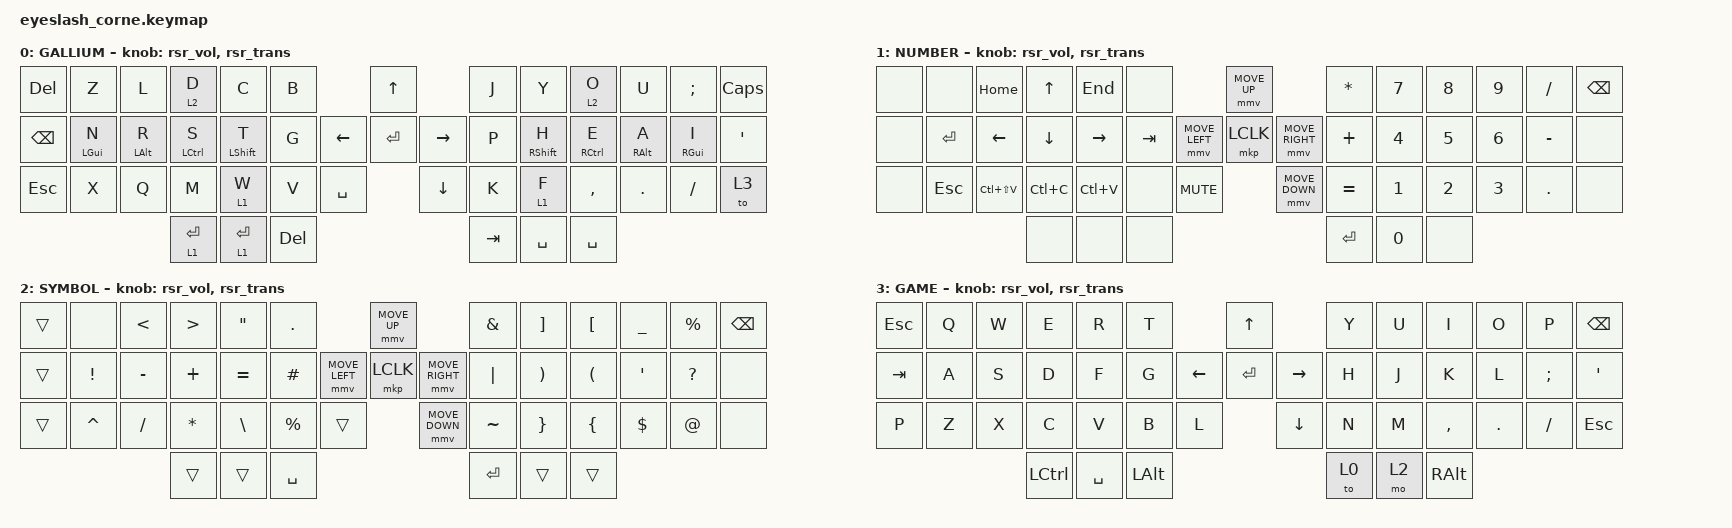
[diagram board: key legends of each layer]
#define ZMK_POINTING_DEFAULT_MOVE_VAL 1200  // 600
#define ZMK_POINTING_DEFAULT_SCRL_VAL 25   // 10

#include <input/processors.dtsi>
#include <zephyr/dt-bindings/input/input-event-codes.h>
#include <behaviors/runtime-sensor-rotate.dtsi>
#include <behaviors.dtsi>
#include <dt-bindings/zmk/keys.h>
#include <dt-bindings/zmk/pointing.h>
#include <dt-bindings/zmk/rgb.h>

&mmv_input_listener { input-processors = <&zip_xy_scaler 2 1>; };

&msc_input_listener { input-processors = <&zip_scroll_scaler 2 1>; };

&msc {
    acceleration-exponent = <1>;      // 0
    time-to-max-speed-ms = <100>;       // 300
    delay-ms = <0>;                   // 0
};

&mmv {
    time-to-max-speed-ms = <500>;
    acceleration-exponent = <1>;
    trigger-period-ms = <16>;
};

/ {
    behaviors {
        td0: td0 {
            compatible = "zmk,behavior-tap-dance";
            display-name = "Shift/Caps Lock Tap Dance";
            #binding-cells = <0>;
            bindings = <&kp LEFT_SHIFT>, <&kp CAPS>;
        };

        rsr_vol: rsr_vol {
            compatible = "zmk,behavior-runtime-sensor-rotate";
            #sensor-binding-cells = <0>;
            tap-ms = <5>;
            cw-binding = <&kp C_VOL_UP>;
            ccw-binding = <&kp C_VOL_DN>;
        };

        rsr_trans: rsr_trans {
            compatible = "zmk,behavior-runtime-sensor-rotate";
            #sensor-binding-cells = <0>;
            tap-ms = <0>;
        };

        HML: HML {
            compatible = "zmk,behavior-hold-tap";
            label = "HML";
            bindings = <&kp>, <&kp>;

            #binding-cells = <2>;
            tapping-term-ms = <180>;
            flavor = "tap-preferred";
            hold-trigger-key-positions = <7 8 9 10 11 12 22 23 24 25 26 27 36 37 38 39 40 41 45 46 47>;
        };

        HMR: HMR {
            compatible = "zmk,behavior-hold-tap";
            label = "HMR";
            bindings = <&kp>, <&kp>;

            #binding-cells = <2>;
            tapping-term-ms = <180>;
            flavor = "tap-preferred";
            hold-trigger-key-positions = <0 1 2 3 4 5 13 14 15 16 17 18 28 29 30 31 32 33 42 43 44>;
        };
    };

    rgb_encoder: rgb_encoder {
        compatible = "zmk,behavior-sensor-rotate";
        #sensor-binding-cells = <0>;
        bindings = <&rgb_ug RGB_BRI>, <&rgb_ug RGB_BRD>;
    };

    scroll_encoder: scroll_encoder {
        compatible = "zmk,behavior-sensor-rotate";
        #sensor-binding-cells = <0>;
        bindings = <&msc SCRL_DOWN>, <&msc SCRL_UP>;

        tap-ms = <100>;
    };

    keymap {
        compatible = "zmk,keymap";

        BASE {
            display-name = "GALLIUM";
            bindings = <
&kp DELETE     &kp Z        &kp L        &lt 2 D       &kp C         &kp B                              &kp UP                &kp J    &kp Y          &lt 2 O       &kp U        &kp SEMICOLON  &kp CAPSLOCK
&kp BACKSPACE  &HML LGUI N  &HML LALT R  &HML LCTRL S  &HML LSHFT T  &kp G                    &kp LEFT  &kp ENTER  &kp RIGHT  &kp P    &HMR RSHIFT H  &HMR RCTRL E  &HMR RALT A  &HMR RGUI I    &kp SQT
&kp ESC        &kp X        &kp Q        &kp M         &lt 1 W       &kp V       &kp SPACE              &kp DOWN              &kp K    &lt 1 F        &kp COMMA     &kp DOT      &kp FSLH       &to 3
                                         &lt 1 ENTER   &lt 1 ENTER   &kp DELETE                                               &kp TAB  &kp SPACE      &kp SPACE
            >;

            sensor-bindings = <&rsr_vol &rsr_trans>;
        };

        NUMBER {
            display-name = "NUMBER";
            bindings = <
&none  &none      &kp HOME        &kp UP_ARROW    &kp END    &none                                  &mmv MOVE_UP                     &kp ASTERISK  &kp N7        &kp N8        &kp N9        &kp SLASH   &kp BSPC
&none  &kp ENTER  &kp LEFT_ARROW  &kp DOWN_ARROW  &kp RIGHT  &kp TAB                &mmv MOVE_LEFT  &mkp LCLK       &mmv MOVE_RIGHT  &kp PLUS      &kp NUMBER_4  &kp NUMBER_5  &kp NUMBER_6  &kp MINUS   &none
&none  &kp ESC    &kp LC(LS(V))   &kp LC(C)       &kp LC(V)  &none    &kp C_MUTE                    &mmv MOVE_DOWN                   &kp EQUAL     &kp NUMBER_1  &kp NUMBER_2  &kp NUMBER_3  &kp PERIOD  &none
                                  &none           &none      &none                                                                   &kp ENTER     &kp NUMBER_0  &none
            >;

            sensor-bindings = <&rsr_vol &rsr_trans>;
        };

        SYMBOL {
            display-name = "SYMBOL";
            bindings = <
&trans  &none            &kp LESS_THAN  &kp GREATER_THAN  &kp DOUBLE_QUOTES  &kp PERIOD                             &mmv MOVE_UP                     &kp AMPERSAND  &kp RIGHT_BRACKET      &kp LEFT_BRACKET      &kp UNDERSCORE  &kp PERCENT   &kp BSPC
&trans  &kp EXCLAMATION  &kp MINUS      &kp PLUS          &kp EQUAL          &kp HASH               &mmv MOVE_LEFT  &mkp LCLK       &mmv MOVE_RIGHT  &kp PIPE       &kp RIGHT_PARENTHESIS  &kp LEFT_PARENTHESIS  &kp SQT         &kp QUESTION  &none
&trans  &kp CARET        &kp SLASH      &kp ASTERISK      &kp BACKSLASH      &kp PERCENT  &trans                    &mmv MOVE_DOWN                   &kp TILDE      &kp RIGHT_BRACE        &kp LBRC              &kp DOLLAR      &kp AT_SIGN   &none
                                        &trans            &trans             &kp SPACE                                                               &kp RET        &trans                 &trans
            >;

            sensor-bindings = <&rsr_vol &rsr_trans>;
        };

        GAME {
            display-name = "GAME";
            bindings = <
&kp ESC  &kp Q  &kp W  &kp E      &kp R      &kp T                        &kp UP                &kp Y  &kp U  &kp I      &kp O    &kp P     &kp BSPC
&kp TAB  &kp A  &kp S  &kp D      &kp F      &kp G              &kp LEFT  &kp ENTER  &kp RIGHT  &kp H  &kp J  &kp K      &kp L    &kp SEMI  &kp SQT
&kp P    &kp Z  &kp X  &kp C      &kp V      &kp B     &kp L              &kp DOWN              &kp N  &kp M  &kp COMMA  &kp DOT  &kp FSLH  &kp ESC
                       &kp LCTRL  &kp SPACE  &kp LALT                                           &to 0  &mo 2  &kp RALT
            >;

            sensor-bindings = <&rsr_vol>, <&rsr_trans>;
        };
    };
};
